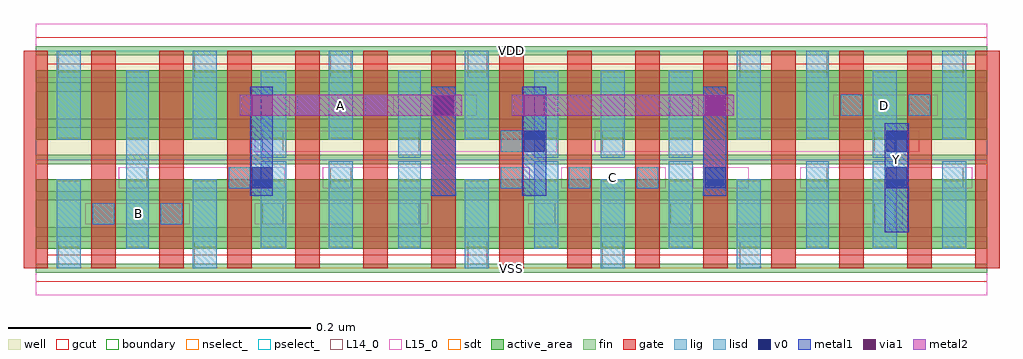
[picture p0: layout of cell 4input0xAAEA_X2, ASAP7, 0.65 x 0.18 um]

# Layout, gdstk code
import gdstk
lib = gdstk.Library(unit=1e-6, precision=1e-09)
def R(c, l, rs):  # rectangles x0, y0, x1, y1
    for r in rs: c.add(gdstk.rectangle(r[:2], r[2:], *l))
def A(c, l, x, y, w, h, nx, ny, dx, dy):  # array of equal rectangles
    R(c, l, [(x+i*dx, y+j*dy, x+i*dx+w, y+j*dy+h) for i in range(nx) for j in range(ny)])
def P(c, l, *ps):  # polygons
    for p in ps: c.add(gdstk.Polygon(p, *l))
well = (1, 0)
fin = (2, 0)
gate = (7, 0)
gcut = (10, 0)
active_area = (11, 0)
nselect_ = (12, 0)
pselect_ = (13, 0)
L14_0 = (14, 0)
L15_0 = (15, 0)
lig = (16, 0)
lisd = (17, 0)
v0 = (18, 0)
metal1 = (19, 0)
metal2 = (20, 0)
via1 = (21, 0)
sdt = (88, 0)
boundary = (100, 0)

c_4input0xaaea_x2 = lib.new_cell('4input0xAAEA_X2')
R(c_4input0xaaea_x2, well, [(0,0.072,0.63,0.144)])
A(c_4input0xaaea_x2, fin, 0, -0.003, 0.63, 0.006, 1, 7, 0, 0.024)
A(c_4input0xaaea_x2, gate, -0.008, 0, 0.016, 0.144, 15, 1, 0.045, 0)
P(c_4input0xaaea_x2, gcut, [(0,-0.009),(0,0),(-0.008,0),(-0.008,0.135),(0.008,0.135),(0.008,0.009),(0.487,0.009),(0.487,0.135),(0.503,0.135),(0.503,0.009),(0.622,0.009),(0.622,0.135),(-0.008,0.135),(-0.008,0.144),(0,0.144),(0,0.153),(0.63,0.153),(0.63,0.144),(0.638,0.144),(0.638,0),(0.63,0),(0.63,-0.009)])
R(c_4input0xaaea_x2, active_area, [(0,0.013,0.63,0.059), (0,0.085,0.63,0.131)])
R(c_4input0xaaea_x2, nselect_, [(0,0,0.63,0.072)])
R(c_4input0xaaea_x2, pselect_, [(0,0.072,0.63,0.144)])
A(c_4input0xaaea_x2, L14_0, 0.15, 0.029, 0.014, 0.014, 4, 1, 0.09, 0)
A(c_4input0xaaea_x2, L14_0, 0.308, 0.053, 0.014, 0.014, 4, 1, 0.045, 0)
A(c_4input0xaaea_x2, L14_0, 0.173, 0.101, 0.014, 0.014, 3, 1, 0.045, 0)
R(c_4input0xaaea_x2, L14_0, [(0.015,0,0.03,0.018), (0.105,0,0.12,0.018), (0.286,0,0.299,0.018), (0.375,0,0.389,0.018), (0.466,0,0.48,0.018), (0.038,0.029,0.052,0.043), (0.083,0.029,0.097,0.043), (0.555,0.029,0.569,0.043), (0.06,0.053,0.074,0.067), (0.128,0.053,0.142,0.067), (0.195,0.053,0.209,0.067), (0.51,0.053,0.524,0.067), (0.6,0.053,0.614,0.067), (0.15,0.077,0.164,0.091), (0.24,0.077,0.254,0.091), (0.308,0.077,0.322,0.091), (0.375,0.077,0.389,0.091), (0.555,0.077,0.569,0.091), (0.33,0.101,0.344,0.115), (0.42,0.101,0.434,0.115), (0.533,0.101,0.547,0.115), (0.578,0.101,0.592,0.115), (0.015,0.126,0.03,0.144), (0.105,0.126,0.12,0.144), (0.195,0.126,0.209,0.144), (0.286,0.126,0.299,0.144), (0.466,0.126,0.48,0.144), (0.51,0.126,0.524,0.144), (0.6,0.126,0.614,0.144)])
R(c_4input0xaaea_x2, L15_0, [(0,-0.018,0.63,0.018), (0.033,0.029,0.102,0.043), (0.145,0.029,0.26,0.043), (0.326,0.029,0.574,0.043), (0.055,0.053,0.165,0.067), (0.19,0.053,0.327,0.067), (0.348,0.053,0.417,0.067), (0.435,0.053,0.472,0.067), (0.506,0.053,0.62,0.067), (0.145,0.077,0.345,0.091), (0.37,0.077,0.585,0.091), (0.168,0.101,0.237,0.115), (0.255,0.101,0.292,0.115), (0.326,0.101,0.439,0.115), (0.528,0.101,0.597,0.115), (0,0.126,0.63,0.162)])
A(c_4input0xaaea_x2, lig, 0.308, 0.053, 0.014, 0.014, 4, 1, 0.045, 0)
A(c_4input0xaaea_x2, lig, 0.173, 0.101, 0.014, 0.014, 3, 1, 0.045, 0)
R(c_4input0xaaea_x2, lig, [(0.038,0.029,0.052,0.043), (0.083,0.029,0.097,0.043), (0.128,0.053,0.142,0.067), (0.308,0.077,0.322,0.091), (0.533,0.101,0.547,0.115), (0.578,0.101,0.592,0.115)])
A(c_4input0xaaea_x2, lisd, 0.284, 0, 0.016, 0.059, 3, 1, 0.09, 0)
A(c_4input0xaaea_x2, lisd, 0.014, 0.085, 0.016, 0.059, 4, 1, 0.09, 0)
R(c_4input0xaaea_x2, lisd, [(0.014,0,0.03,0.059), (0.104,0,0.12,0.059), (0.06,0.013,0.075,0.131), (0.149,0.013,0.166,0.071), (0.194,0.013,0.21,0.071), (0.24,0.013,0.255,0.071), (0.33,0.013,0.346,0.071), (0.419,0.013,0.435,0.071), (0.51,0.013,0.525,0.071), (0.554,0.013,0.57,0.071), (0.6,0.013,0.616,0.071), (0.149,0.073,0.166,0.131), (0.24,0.073,0.255,0.131), (0.33,0.073,0.346,0.131), (0.374,0.073,0.39,0.131), (0.419,0.073,0.435,0.131), (0.554,0.073,0.57,0.131), (0.464,0.085,0.48,0.144), (0.51,0.085,0.525,0.144), (0.6,0.085,0.616,0.144)])
R(c_4input0xaaea_x2, v0, [(0.143,0.053,0.157,0.067), (0.443,0.053,0.457,0.067), (0.563,0.053,0.577,0.067), (0.323,0.077,0.337,0.091), (0.563,0.077,0.577,0.091), (0.263,0.101,0.277,0.115)])
R(c_4input0xaaea_x2, metal1, [(0.562,0.024,0.578,0.096), (0.142,0.048,0.157,0.12), (0.262,0.048,0.278,0.12), (0.322,0.048,0.338,0.12), (0.442,0.048,0.457,0.12)])
R(c_4input0xaaea_x2, metal2, [(0.135,0.101,0.282,0.115), (0.315,0.101,0.462,0.115)])
R(c_4input0xaaea_x2, via1, [(0.143,0.101,0.157,0.115), (0.263,0.101,0.277,0.115), (0.323,0.101,0.337,0.115), (0.443,0.101,0.457,0.115)])
A(c_4input0xaaea_x2, sdt, 0.014, 0.014, 0.016, 0.044, 4, 2, 0.09, 0.072)
A(c_4input0xaaea_x2, sdt, 0.374, 0.014, 0.016, 0.044, 3, 2, 0.045, 0.072)
R(c_4input0xaaea_x2, sdt, [(0.06,0.014,0.075,0.058), (0.149,0.014,0.166,0.058), (0.24,0.014,0.255,0.058), (0.33,0.014,0.346,0.058), (0.51,0.014,0.525,0.058), (0.554,0.014,0.57,0.058), (0.6,0.014,0.616,0.058), (0.06,0.086,0.075,0.13), (0.149,0.086,0.166,0.13), (0.24,0.086,0.255,0.13), (0.33,0.086,0.346,0.13), (0.51,0.086,0.525,0.13), (0.554,0.086,0.57,0.13), (0.6,0.086,0.616,0.13)])
R(c_4input0xaaea_x2, boundary, [(0,0,0.63,0.144)])
c_4input0xaaea_x2.add(gdstk.Label('D', (0.562,0.108), layer=15, texttype=251))
c_4input0xaaea_x2.add(gdstk.Label('VSS', (0.315,0), layer=15, texttype=251))
c_4input0xaaea_x2.add(gdstk.Label('VDD', (0.315,0.144), layer=15, texttype=251))
c_4input0xaaea_x2.add(gdstk.Label('A', (0.202,0.108), layer=15, texttype=251))
c_4input0xaaea_x2.add(gdstk.Label('VSS', (0.315,0), layer=15, texttype=251))
c_4input0xaaea_x2.add(gdstk.Label('VDD', (0.315,0.144), layer=15, texttype=251))
c_4input0xaaea_x2.add(gdstk.Label('VSS', (0.315,0), layer=15, texttype=251))
c_4input0xaaea_x2.add(gdstk.Label('VDD', (0.315,0.144), layer=15, texttype=251))
c_4input0xaaea_x2.add(gdstk.Label('C', (0.382,0.06), layer=15, texttype=251))
c_4input0xaaea_x2.add(gdstk.Label('VSS', (0.315,0), layer=15, texttype=251))
c_4input0xaaea_x2.add(gdstk.Label('VDD', (0.315,0.144), layer=15, texttype=251))
c_4input0xaaea_x2.add(gdstk.Label('B', (0.068,0.036), layer=15, texttype=251))
c_4input0xaaea_x2.add(gdstk.Label('VSS', (0.315,0), layer=15, texttype=251))
c_4input0xaaea_x2.add(gdstk.Label('VDD', (0.315,0.144), layer=15, texttype=251))
c_4input0xaaea_x2.add(gdstk.Label('VSS', (0.315,0), layer=3, texttype=251))
c_4input0xaaea_x2.add(gdstk.Label('VSS', (0.315,0), layer=3, texttype=251))
c_4input0xaaea_x2.add(gdstk.Label('VSS', (0.315,0), layer=3, texttype=251))
c_4input0xaaea_x2.add(gdstk.Label('VSS', (0.315,0), layer=3, texttype=251))
c_4input0xaaea_x2.add(gdstk.Label('VSS', (0.315,0), layer=3, texttype=251))
c_4input0xaaea_x2.add(gdstk.Label('VDD', (0.315,0.144), layer=1, texttype=251))
c_4input0xaaea_x2.add(gdstk.Label('VDD', (0.315,0.144), layer=1, texttype=251))
c_4input0xaaea_x2.add(gdstk.Label('VDD', (0.315,0.144), layer=1, texttype=251))
c_4input0xaaea_x2.add(gdstk.Label('VDD', (0.315,0.144), layer=1, texttype=251))
c_4input0xaaea_x2.add(gdstk.Label('VDD', (0.315,0.144), layer=1, texttype=251))
c_4input0xaaea_x2.add(gdstk.Label('Y', (0.57,0.072), layer=19, texttype=251))

lib.write_gds('4input0xAAEA_X2.gds')
